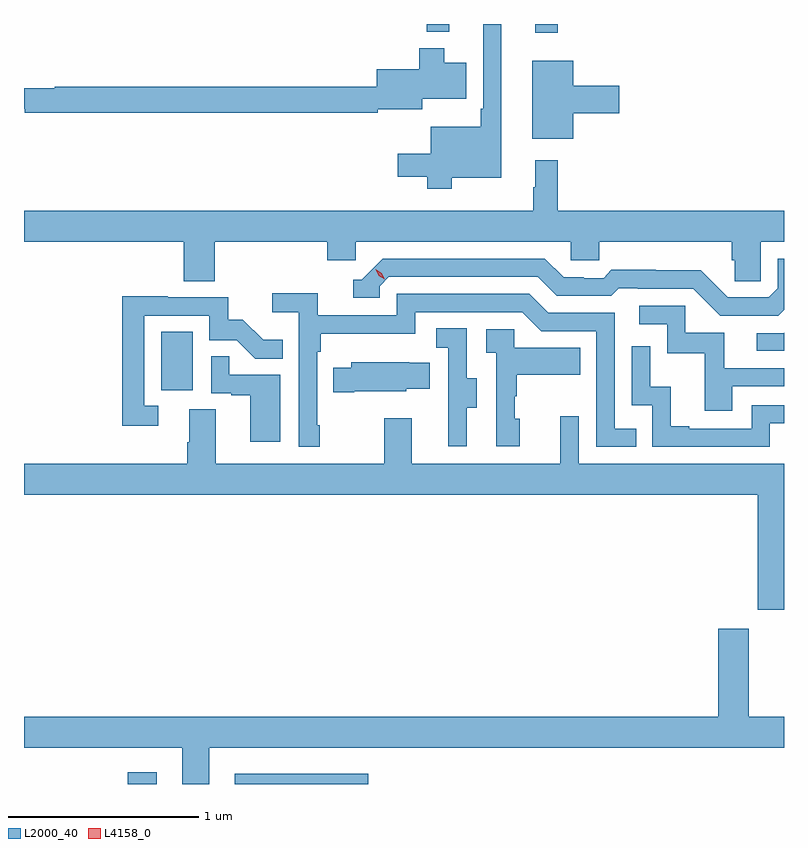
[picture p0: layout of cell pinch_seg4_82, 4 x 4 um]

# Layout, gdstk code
import gdstk
lib = gdstk.Library(unit=1e-6, precision=1e-09)
def R(c, l, rs):  # rectangles x0, y0, x1, y1
    for r in rs: c.add(gdstk.rectangle(r[:2], r[2:], *l))
def P(c, l, *ps):  # polygons
    for p in ps: c.add(gdstk.Polygon(p, *l))
L2000_40 = (2000, 40)
L4158_0 = (4158, 0)

pinch_seg4_82 = lib.new_cell('pinch_seg4_82')
R(pinch_seg4_82, L2000_40, [(1052.921,820.606,1053.073,820.669), (1053.485,820.606,1054.186,820.66), (1053.098,822.678,1053.262,822.985), (1055.066,824.559,1055.183,824.606), (1054.495,824.564,1054.613,824.606)])
P(pinch_seg4_82, L2000_40, [(1054.627,823.796),(1054.888,823.796),(1054.888,824.606),(1054.791,824.606),(1054.791,824.161),(1054.779,824.161),(1054.779,824.065),(1054.517,824.065),(1054.517,823.924),(1054.341,823.924),(1054.341,823.802),(1054.498,823.802),(1054.498,823.739),(1054.627,823.739)],
  [(1054.236,824.158),(1054.471,824.158),(1054.471,824.213),(1054.702,824.213),(1054.702,824.401),(1054.588,824.401),(1054.588,824.479),(1054.454,824.479),(1054.454,824.368),(1054.232,824.368),(1054.232,824.276),(1052.536,824.276),(1052.536,824.269),(1052.375,824.269),(1052.375,824.159),(1052.38,824.159),(1052.38,824.14),(1054.236,824.14)],
  [(1055.266,824.135),(1055.509,824.135),(1055.509,824.282),(1055.266,824.282),(1055.266,824.413),(1055.051,824.413),(1055.051,824.003),(1055.266,824.003)],
  [(1053.38,823.46),(1053.971,823.46),(1053.971,823.362),(1054.122,823.362),(1054.122,823.46),(1055.253,823.46),(1055.253,823.362),(1055.403,823.362),(1055.403,823.46),(1056.101,823.46),(1056.101,823.362),(1056.115,823.362),(1056.115,823.252),(1056.252,823.252),(1056.252,823.46),(1056.375,823.46),(1056.375,823.624),(1055.183,823.624),(1055.183,823.888),(1055.066,823.888),(1055.066,823.748),(1055.055,823.748),(1055.055,823.624),(1052.375,823.624),(1052.375,823.46),(1053.215,823.46),(1053.215,823.252),(1053.38,823.252)],
  [(1056.375,823.101),(1056.375,823.371),(1056.342,823.371),(1056.342,823.215),(1056.294,823.167),(1056.078,823.167),(1055.936,823.309),(1055.7,823.309),(1055.7,823.312),(1055.467,823.312),(1055.425,823.269),(1055.322,823.269),(1055.322,823.272),(1055.215,823.272),(1055.116,823.371),(1054.263,823.371),(1054.152,823.26),(1054.109,823.26),(1054.109,823.164),(1054.248,823.164),(1054.248,823.227),(1054.296,823.275),(1055.079,823.275),(1055.178,823.176),(1055.467,823.176),(1055.506,823.215),(1055.605,823.215),(1055.605,823.212),(1055.898,823.212),(1056.039,823.071),(1056.345,823.071)],
  [(1053.931,822.493),(1053.918,822.493),(1053.918,822.881),(1053.938,822.881),(1053.938,822.977),(1054.434,822.977),(1054.434,823.089),(1054.998,823.089),(1055.097,822.99),(1055.388,822.99),(1055.388,822.381),(1055.597,822.381),(1055.597,822.477),(1055.484,822.477),(1055.484,823.086),(1055.134,823.086),(1055.035,823.185),(1054.338,823.185),(1054.338,823.074),(1053.92,823.074),(1053.92,823.19),(1053.681,823.19),(1053.681,823.088),(1053.822,823.088),(1053.822,822.381),(1053.931,822.381)],
  [(1053.082,822.597),(1053.009,822.597),(1053.009,823.071),(1053.351,823.071),(1053.351,822.942),(1053.495,822.942),(1053.593,822.844),(1053.737,822.844),(1053.737,822.943),(1053.633,822.943),(1053.526,823.05),(1053.45,823.05),(1053.45,823.167),(1053.131,823.167),(1053.131,823.172),(1052.893,823.172),(1052.893,822.492),(1053.082,822.492)],
  [(1056.103,822.699),(1056.375,822.699),(1056.375,822.795),(1056.061,822.795),(1056.061,822.981),(1055.856,822.981),(1055.856,823.122),(1055.613,823.122),(1055.613,823.026),(1055.76,823.026),(1055.76,822.873),(1055.959,822.873),(1055.959,822.57),(1056.103,822.57)],
  [(1054.705,822.586),(1054.759,822.586),(1054.759,822.741),(1054.704,822.741),(1054.704,823.004),(1054.545,823.004),(1054.545,822.901),(1054.608,822.901),(1054.608,822.597),(1054.607,822.597),(1054.607,822.384),(1054.705,822.384)],
  [(1054.984,822.528),(1054.959,822.528),(1054.959,822.647),(1054.969,822.647),(1054.969,822.761),(1055.303,822.761),(1055.303,822.901),(1054.956,822.901),(1054.956,822.999),(1054.809,822.999),(1054.809,822.875),(1054.86,822.875),(1054.86,822.384),(1054.984,822.384)],
  [(1056.375,822.981),(1056.372,822.978),(1056.231,822.978),(1056.231,822.885),(1056.375,822.885)],
  [(1056.3,822.504),(1056.375,822.504),(1056.375,822.6),(1056.204,822.6),(1056.204,822.477),(1055.875,822.477),(1055.875,822.49),(1055.78,822.49),(1055.78,822.698),(1055.67,822.698),(1055.67,822.91),(1055.574,822.91),(1055.574,822.6),(1055.682,822.6),(1055.682,822.381),(1056.3,822.381)],
  [(1053.724,822.759),(1053.455,822.759),(1053.455,822.857),(1053.36,822.857),(1053.36,822.663),(1053.467,822.663),(1053.467,822.651),(1053.566,822.651),(1053.566,822.408),(1053.724,822.408)],
  [(1054.114,822.674),(1054.386,822.674),(1054.386,822.686),(1054.511,822.686),(1054.511,822.823),(1054.403,822.823),(1054.403,822.826),(1054.097,822.826),(1054.097,822.796),(1054.003,822.796),(1054.003,822.667),(1054.114,822.667)],
  [(1056.375,822.292),(1055.295,822.292),(1055.295,822.541),(1055.198,822.541),(1055.198,822.292),(1054.417,822.292),(1054.417,822.532),(1054.27,822.532),(1054.27,822.292),(1053.385,822.292),(1053.385,822.578),(1053.245,822.578),(1053.245,822.404),(1053.233,822.404),(1053.233,822.292),(1052.375,822.292),(1052.375,822.128),(1056.236,822.128),(1056.236,821.522),(1056.375,821.522)],
  [(1053.349,820.796),(1056.375,820.796),(1056.375,820.96),(1056.189,820.96),(1056.189,821.422),(1056.029,821.422),(1056.029,820.96),(1052.375,820.96),(1052.375,820.796),(1053.209,820.796),(1053.209,820.606),(1053.349,820.606)])
P(pinch_seg4_82, L4158_0, [(1054.273,823.262),(1054.242,823.281),(1054.225,823.314),(1054.225,823.314),(1054.226,823.314),(1054.257,823.295),(1054.273,823.262),(1054.273,823.262)])

lib.write_gds('pinch_seg4_82.gds')
